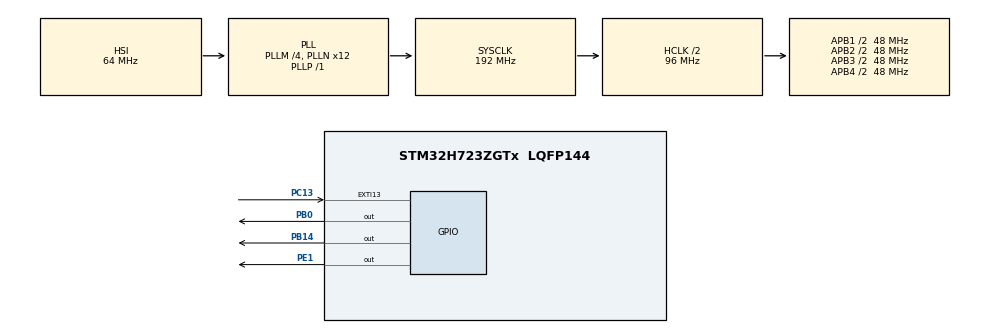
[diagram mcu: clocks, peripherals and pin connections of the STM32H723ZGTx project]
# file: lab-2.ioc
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CORTEX_M7.default_mode_Activation=1
Mcu.Family=STM32H7
Mcu.Name=STM32H723ZGTx
Mcu.Package=LQFP144
NUCLEO-H723ZG.LD1=true
NUCLEO-H723ZG.LD2=true
NUCLEO-H723ZG.LD3=true
NUCLEO-H723ZG.VCP=true
NVIC.PriorityGroup=NVIC_PRIORITYGROUP_4
PA13(JTMS/SWDIO).GPIO_Label=SWDIO
PA13(JTMS/SWDIO).Signal=DEBUG_JTMS-SWDIO
PA14(JTCK/SWCLK).GPIO_Label=SWCLK
PA14(JTCK/SWCLK).Signal=DEBUG_JTCK-SWCLK
PB0.Signal=GPIO_Output
PB14.Signal=GPIO_Output
PB15.Signal=USART1_RX
PC13.Signal=GPXTI13
PC14-OSC32_IN.Signal=RCC_OSC32_IN
PC15-OSC32_OUT.Signal=RCC_OSC32_OUT
PD8.Signal=USART3_TX
PD9.Signal=USART3_RX
PE1.Signal=GPIO_Output
ProjectManager.HeapSize=0x200
ProjectManager.StackSize=0x400
ProjectManager.TargetToolchain=Makefile
RCC.ADCFreq_Value=608000000
RCC.APB1Freq_Value=48000000
RCC.APB2Freq_Value=48000000
RCC.APB3Freq_Value=48000000
RCC.APB4Freq_Value=48000000
RCC.CortexFreq_Value=192000000
RCC.D1PPRE=RCC_APB3_DIV2
RCC.D2PPRE1=RCC_APB1_DIV2
RCC.D2PPRE2=RCC_APB2_DIV2
RCC.D3PPRE=RCC_APB4_DIV2
RCC.DIVM1=4
RCC.DIVM2=1
RCC.DIVN1=12
RCC.DIVN2=19
RCC.DIVP1=1
RCC.DIVQ1=4
RCC.HCLKFreq_Value=96000000
RCC.HPRE=RCC_HCLK_DIV2
RCC.HSE_VALUE=8000000
RCC.PLLFRACN=0
RCC.SYSCLKFreq_VALUE=192000000
RCC.SYSCLKSource=RCC_SYSCLKSOURCE_PLLCLK
RCC.USBCLockSelection=RCC_USBCLKSOURCE_HSI48
RCC.USBFreq_Value=48000000
VP_MEMORYMAP_VS_MEMORYMAP.Mode=CurAppReg
VP_NUCLEO-H723ZG_VS_BSP_COMMON.Mode=COMMON
board=NUCLEO-H723ZG

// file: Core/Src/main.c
/* USER CODE BEGIN Header */
/**
  ******************************************************************************
  * @file           : main.c
  * @brief          : Main program body
  ******************************************************************************
  * @attention
  *
  * Copyright (c) 2025 STMicroelectronics.
  * All rights reserved.
  *
  * This software is licensed under terms that can be found in the LICENSE file
  * in the root directory of this software component.
  * If no LICENSE file comes with this software, it is provided AS-IS.
  *
  ******************************************************************************
  */

/*
LEONARDO PASQUATO

NOTES ABOUT THE ASSIGNMENT
The purpose of this code is to get expertise on the use of interrupts and clock ticks using HAL functions and methods.
In particular, in this implementation I used static volatile variables as flags in order to store the moment in which the button is pressed and the moment when the button is released. "static" is used in order to have a centralized istance of a variable and "volatile" is used in order to be possible of reassign them inside the interrupt handler.
It would be possible to use just one of them but this implies to implement a busy waiting like algorithm that is very inefficient.
Still, i am using an h723zg board, that embeds 3 leds and i will use all of them and I flash the code using openOCD from command line and vscode as the IDE.
In the body of the interrupt handler it's implemented a simple task: when the button is pressed, it simply toggles the second led, but if it is pressed for a time interval included between 1 and 4 seconds, it starts blinking the second led and if the button is pressed for more than 4 seconds it starts blinking the third led. In hte meantime, the first led keeps blinking so it's possible to notice that in this code the busy waiting is avoided.
A little debouning is implemented as well: if the button is pressed for less than 10ms, the handler just does nothing.

*/
/* USER CODE END Header */
#include "main.h"

COM_InitTypeDef BspCOMInit;

void SystemClock_Config(void);
static void MPU_Config(void);
static void MX_GPIO_Init(void);

/* USER CODE BEGIN 0 */

volatile static uint8_t toggle2_max = 0;
volatile static uint8_t toggle3_max = 0;
volatile static uint32_t toggle_start = 0;
volatile static uint32_t toggle_end = 0;
volatile static uint8_t toggle_pressed = 0;

/* USER CODE END 0 */

int main(void)
{

  /* MPU Configuration--------------------------------------------------------*/
  MPU_Config();

  /* MCU Configuration--------------------------------------------------------*/

  /* Reset of all peripherals, Initializes the Flash interface and the Systick. */
  HAL_Init();

  /* Configure the system clock */
  SystemClock_Config();

  /* Initialize all configured peripherals */
  MX_GPIO_Init();

  /* Initialize leds */
  BSP_LED_Init(LED_GREEN);
  BSP_LED_Init(LED_YELLOW);
  BSP_LED_Init(LED_RED);

  /* Initialize COM1 port (115200, 8 bits (7-bit data + 1 stop bit), no parity */
  BspCOMInit.BaudRate   = 115200;
  BspCOMInit.WordLength = COM_WORDLENGTH_8B;
  BspCOMInit.StopBits   = COM_STOPBITS_1;
  BspCOMInit.Parity     = COM_PARITY_NONE;
  BspCOMInit.HwFlowCtl  = COM_HWCONTROL_NONE;
  if (BSP_COM_Init(COM1, &BspCOMInit) != BSP_ERROR_NONE)
  {
    Error_Handler();
  }

  /* Infinite loop */
  while (1)
  {

    /* USER CODE BEGIN 3 */
    HAL_GPIO_TogglePin(LED1_GPIO_PORT, LED1_PIN);

    if(toggle2_max){
      HAL_GPIO_TogglePin(LED2_GPIO_PORT, LED2_PIN);
    }

    if(toggle3_max){
      HAL_GPIO_TogglePin(LED3_GPIO_PORT, LED3_PIN);
    }

    HAL_Delay(100);
  }
  /* USER CODE END 3 */
}

void SystemClock_Config(void)
{
  RCC_OscInitTypeDef RCC_OscInitStruct = {0};
  RCC_ClkInitTypeDef RCC_ClkInitStruct = {0};

  /** Supply configuration update enable
  */
  HAL_PWREx_ConfigSupply(PWR_LDO_SUPPLY);

  /** Configure the main internal regulator output voltage
  */
  __HAL_PWR_VOLTAGESCALING_CONFIG(PWR_REGULATOR_VOLTAGE_SCALE2);

  while(!__HAL_PWR_GET_FLAG(PWR_FLAG_VOSRDY)) {}

  /** Initializes the RCC Oscillators according to the specified parameters
  * in the RCC_OscInitTypeDef structure.
  */
  RCC_OscInitStruct.OscillatorType = RCC_OSCILLATORTYPE_HSI;
  RCC_OscInitStruct.HSIState = RCC_HSI_DIV1;
  RCC_OscInitStruct.HSICalibrationValue = 64;
  RCC_OscInitStruct.PLL.PLLState = RCC_PLL_ON;
  RCC_OscInitStruct.PLL.PLLSource = RCC_PLLSOURCE_HSI;
  RCC_OscInitStruct.PLL.PLLM = 4;
  RCC_OscInitStruct.PLL.PLLN = 12;
  RCC_OscInitStruct.PLL.PLLP = 1;
  RCC_OscInitStruct.PLL.PLLQ = 4;
  RCC_OscInitStruct.PLL.PLLR = 2;
  RCC_OscInitStruct.PLL.PLLRGE = RCC_PLL1VCIRANGE_3;
  RCC_OscInitStruct.PLL.PLLVCOSEL = RCC_PLL1VCOWIDE;
  RCC_OscInitStruct.PLL.PLLFRACN = 0;
  if (HAL_RCC_OscConfig(&RCC_OscInitStruct) != HAL_OK)
  {
    Error_Handler();
  }

  /** Initializes the CPU, AHB and APB buses clocks
  */
  RCC_ClkInitStruct.ClockType = RCC_CLOCKTYPE_HCLK|RCC_CLOCKTYPE_SYSCLK
                              |RCC_CLOCKTYPE_PCLK1|RCC_CLOCKTYPE_PCLK2
                              |RCC_CLOCKTYPE_D3PCLK1|RCC_CLOCKTYPE_D1PCLK1;
  RCC_ClkInitStruct.SYSCLKSource = RCC_SYSCLKSOURCE_PLLCLK;
  RCC_ClkInitStruct.SYSCLKDivider = RCC_SYSCLK_DIV1;
  RCC_ClkInitStruct.AHBCLKDivider = RCC_HCLK_DIV2;
  RCC_ClkInitStruct.APB3CLKDivider = RCC_APB3_DIV2;
  RCC_ClkInitStruct.APB1CLKDivider = RCC_APB1_DIV2;
  RCC_ClkInitStruct.APB2CLKDivider = RCC_APB2_DIV2;
  RCC_ClkInitStruct.APB4CLKDivider = RCC_APB4_DIV2;

  if (HAL_RCC_ClockConfig(&RCC_ClkInitStruct, FLASH_LATENCY_1) != HAL_OK)
  {
    Error_Handler();
  }
}

static void MX_GPIO_Init(void)
{
  GPIO_InitTypeDef GPIO_InitStruct = {0};

  /* GPIO Ports Clock Enable */
  __HAL_RCC_GPIOC_CLK_ENABLE();
  __HAL_RCC_GPIOA_CLK_ENABLE();

  /*Configure GPIO pin : PC13 */
  GPIO_InitStruct.Pin = GPIO_PIN_13;
  GPIO_InitStruct.Mode = GPIO_MODE_IT_RISING_FALLING;
  GPIO_InitStruct.Pull = GPIO_NOPULL;
  HAL_GPIO_Init(GPIOC, &GPIO_InitStruct);

  /* EXTI interrupt init*/
  HAL_NVIC_SetPriority(EXTI15_10_IRQn, 0, 0);
  HAL_NVIC_EnableIRQ(EXTI15_10_IRQn);

}

/* USER CODE BEGIN 4 */

void HAL_GPIO_EXTI_Callback(uint16_t GPIO_Pin)
{

  uint32_t tmp = HAL_GPIO_ReadPin(GPIOC, GPIO_PIN_13);

  if(tmp == GPIO_PIN_SET){
    HAL_GPIO_TogglePin(LED2_GPIO_PORT, LED2_PIN);

    toggle_start = HAL_GetTick();
    toggle_pressed = 1;

    toggle2_max = 0;
    toggle3_max = 0;

  }

  if(tmp == GPIO_PIN_RESET){

    toggle_end = HAL_GetTick();

    if(toggle_pressed){

      uint32_t delta = toggle_end - toggle_start;
      if(delta < 10U){

        return; // debouncing
      }

      if(delta > 1000U){
        toggle2_max = 1;

      }
      if(delta > 4000U){
          toggle2_max = 0;
          toggle3_max = 1; // blink

      }
    }

    toggle_pressed = 0;
  }

}

/* USER CODE END 4 */

 /* MPU Configuration */

void MPU_Config(void)
{
  MPU_Region_InitTypeDef MPU_InitStruct = {0};

  /* Disables the MPU */
  HAL_MPU_Disable();

  /** Initializes and configures the Region and the memory to be protected
  */
  MPU_InitStruct.Enable = MPU_REGION_ENABLE;
  MPU_InitStruct.Number = MPU_REGION_NUMBER0;
  MPU_InitStruct.BaseAddress = 0x0;
  MPU_InitStruct.Size = MPU_REGION_SIZE_4GB;
  MPU_InitStruct.SubRegionDisable = 0x87;
  MPU_InitStruct.TypeExtField = MPU_TEX_LEVEL0;
  MPU_InitStruct.AccessPermission = MPU_REGION_NO_ACCESS;
  MPU_InitStruct.DisableExec = MPU_INSTRUCTION_ACCESS_DISABLE;
  MPU_InitStruct.IsShareable = MPU_ACCESS_SHAREABLE;
  MPU_InitStruct.IsCacheable = MPU_ACCESS_NOT_CACHEABLE;
  MPU_InitStruct.IsBufferable = MPU_ACCESS_NOT_BUFFERABLE;

  HAL_MPU_ConfigRegion(&MPU_InitStruct);
  /* Enables the MPU */
  HAL_MPU_Enable(MPU_PRIVILEGED_DEFAULT);

}

void Error_Handler(void)
{
  __disable_irq();
  while (1)
  {
  }
}
